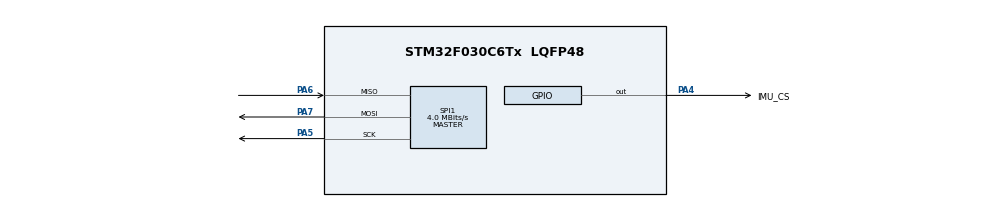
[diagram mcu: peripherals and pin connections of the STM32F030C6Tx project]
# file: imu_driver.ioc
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Mcu.Family=STM32F0
Mcu.Name=STM32F030C6Tx
Mcu.Package=LQFP48
PA13.Mode=Serial_Wire
PA13.Signal=SYS_SWDIO
PA14.Mode=Serial_Wire
PA14.Signal=SYS_SWCLK
PA4.GPIO_Label=IMU_CS
PA4.PinState=GPIO_PIN_SET
PA4.Signal=GPIO_Output
PA5.Mode=Full_Duplex_Master
PA5.Signal=SPI1_SCK
PA6.Mode=Full_Duplex_Master
PA6.Signal=SPI1_MISO
PA7.Mode=Full_Duplex_Master
PA7.Signal=SPI1_MOSI
ProjectManager.HeapSize=0x200
ProjectManager.StackSize=0x400
ProjectManager.TargetToolchain=STM32CubeIDE
SPI1.CLKPhase=SPI_PHASE_2EDGE
SPI1.CLKPolarity=SPI_POLARITY_HIGH
SPI1.CalculateBaudRate=4.0 MBits/s
SPI1.DataSize=SPI_DATASIZE_8BIT
SPI1.Direction=SPI_DIRECTION_2LINES
SPI1.Mode=SPI_MODE_MASTER
SPI1.VirtualType=VM_MASTER
board=custom

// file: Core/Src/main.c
/* USER CODE BEGIN Header */
/**
  ******************************************************************************
  * @file           : main.c
  * @brief          : Main program body
  ******************************************************************************
  * @attention
  *
  * Copyright (c) 2026 STMicroelectronics.
  * All rights reserved.
  *
  * This software is licensed under terms that can be found in the LICENSE file
  * in the root directory of this software component.
  * If no LICENSE file comes with this software, it is provided AS-IS.
  *
  ******************************************************************************
  */
/* USER CODE END Header */
#include "main.h"

/* USER CODE BEGIN Includes */
#include "lsm6dsr.h"
#include <stdio.h>
/* USER CODE END Includes */

SPI_HandleTypeDef hspi1;

void SystemClock_Config(void);
static void MX_GPIO_Init(void);
static void MX_SPI1_Init(void);
/* USER CODE BEGIN PFP */
extern void initialise_monitor_handles(void);
/* USER CODE END PFP */

int main(void)
{

  /* USER CODE BEGIN 1 */
	initialise_monitor_handles();
  /* USER CODE END 1 */

  /* MCU Configuration--------------------------------------------------------*/

  /* Reset of all peripherals, Initializes the Flash interface and the Systick. */
  HAL_Init();

  /* Configure the system clock */
  SystemClock_Config();

  /* Initialize all configured peripherals */
  MX_GPIO_Init();
  MX_SPI1_Init();
  /* USER CODE BEGIN 2 */
  HAL_GPIO_WritePin(IMU_CS_GPIO_Port, IMU_CS_Pin, GPIO_PIN_SET);

  volatile uint8_t who = lsm6dsr_read_reg(&hspi1, LSM6DSR_WHO_AM_I);

  printf("WHO_AM_I = 0x%02X\n", who);

  lsm6dsr_write_reg(&hspi1, LSM6DSR_CTRL3_C, 0x44);	// Block data update on, auto-increment on
  lsm6dsr_write_reg(&hspi1, LSM6DSR_CTRL1_XL, 0x5C); // accel: 208 Hz, ±8 g
  lsm6dsr_write_reg(&hspi1, LSM6DSR_CTRL2_G, 0x5C);	// Gyroscope on: 208 Hz, ±2000 dps

  lsm6dsr_data_t imu;

  uint32_t next_tick = HAL_GetTick();   // when the next reading is due, in ms
  uint32_t count = 0;                   // how many readings so far

  /* USER CODE END 2 */

  /* Infinite loop */
  while (1)
  {

    /* USER CODE BEGIN 3 */
	  while (HAL_GetTick() < next_tick) { }   // wait until it's time
	  next_tick += 5;                         // schedule the next one 5 ms later
	  count++;

	  lsm6dsr_read_data(&hspi1, &imu);

	  // stores Acceleration X, Y, Z values as integers
	  int32_t accelX_mms2 = (int32_t)imu.accelX * 2393 / 1000;
	  int32_t accelY_mms2 = (int32_t)imu.accelY * 2393 / 1000;
	  int32_t accelZ_mms2 = (int32_t)imu.accelZ * 2393 / 1000;

	  // stores Gyroscope X, Y, Z values as integers
	  int32_t gyroX_mdps = (int32_t)imu.gyroX * 70;
	  int32_t gyroY_mdps = (int32_t)imu.gyroY * 70;
	  int32_t gyroZ_mdps = (int32_t)imu.gyroZ * 70;

	  if (count % 200 == 0) {
		  printf("t=%lu ms\naccel_X: %ld accel_Y: %ld accel_Z: %ld\n"
				  "gyro_X: %ld gyro_Y: %ld gyro_Z: %ld\n",
				  HAL_GetTick(), accelX_mms2, accelY_mms2, accelZ_mms2, gyroX_mdps, gyroY_mdps, gyroZ_mdps);
	  }

  }
  /* USER CODE END 3 */
}

void SystemClock_Config(void)
{
  RCC_OscInitTypeDef RCC_OscInitStruct = {0};
  RCC_ClkInitTypeDef RCC_ClkInitStruct = {0};

  /** Initializes the RCC Oscillators according to the specified parameters
  * in the RCC_OscInitTypeDef structure.
  */
  RCC_OscInitStruct.OscillatorType = RCC_OSCILLATORTYPE_HSI;
  RCC_OscInitStruct.HSIState = RCC_HSI_ON;
  RCC_OscInitStruct.HSICalibrationValue = RCC_HSICALIBRATION_DEFAULT;
  RCC_OscInitStruct.PLL.PLLState = RCC_PLL_NONE;
  if (HAL_RCC_OscConfig(&RCC_OscInitStruct) != HAL_OK)
  {
    Error_Handler();
  }

  /** Initializes the CPU, AHB and APB buses clocks
  */
  RCC_ClkInitStruct.ClockType = RCC_CLOCKTYPE_HCLK|RCC_CLOCKTYPE_SYSCLK
                              |RCC_CLOCKTYPE_PCLK1;
  RCC_ClkInitStruct.SYSCLKSource = RCC_SYSCLKSOURCE_HSI;
  RCC_ClkInitStruct.AHBCLKDivider = RCC_SYSCLK_DIV1;
  RCC_ClkInitStruct.APB1CLKDivider = RCC_HCLK_DIV1;

  if (HAL_RCC_ClockConfig(&RCC_ClkInitStruct, FLASH_LATENCY_0) != HAL_OK)
  {
    Error_Handler();
  }
}

static void MX_SPI1_Init(void)
{

  /* SPI1 parameter configuration*/
  hspi1.Instance = SPI1;
  hspi1.Init.Mode = SPI_MODE_MASTER;
  hspi1.Init.Direction = SPI_DIRECTION_2LINES;
  hspi1.Init.DataSize = SPI_DATASIZE_8BIT;
  hspi1.Init.CLKPolarity = SPI_POLARITY_HIGH;
  hspi1.Init.CLKPhase = SPI_PHASE_2EDGE;
  hspi1.Init.NSS = SPI_NSS_SOFT;
  hspi1.Init.BaudRatePrescaler = SPI_BAUDRATEPRESCALER_2;
  hspi1.Init.FirstBit = SPI_FIRSTBIT_MSB;
  hspi1.Init.TIMode = SPI_TIMODE_DISABLE;
  hspi1.Init.CRCCalculation = SPI_CRCCALCULATION_DISABLE;
  hspi1.Init.CRCPolynomial = 7;
  hspi1.Init.CRCLength = SPI_CRC_LENGTH_DATASIZE;
  hspi1.Init.NSSPMode = SPI_NSS_PULSE_DISABLE;
  if (HAL_SPI_Init(&hspi1) != HAL_OK)
  {
    Error_Handler();
  }

}

static void MX_GPIO_Init(void)
{
  GPIO_InitTypeDef GPIO_InitStruct = {0};

  /* GPIO Ports Clock Enable */
  __HAL_RCC_GPIOA_CLK_ENABLE();

  /*Configure GPIO pin Output Level */
  HAL_GPIO_WritePin(IMU_CS_GPIO_Port, IMU_CS_Pin, GPIO_PIN_SET);

  /*Configure GPIO pin : IMU_CS_Pin */
  GPIO_InitStruct.Pin = IMU_CS_Pin;
  GPIO_InitStruct.Mode = GPIO_MODE_OUTPUT_PP;
  GPIO_InitStruct.Pull = GPIO_NOPULL;
  GPIO_InitStruct.Speed = GPIO_SPEED_FREQ_LOW;
  HAL_GPIO_Init(IMU_CS_GPIO_Port, &GPIO_InitStruct);

}

void Error_Handler(void)
{
  __disable_irq();
  while (1)
  {
  }
}
